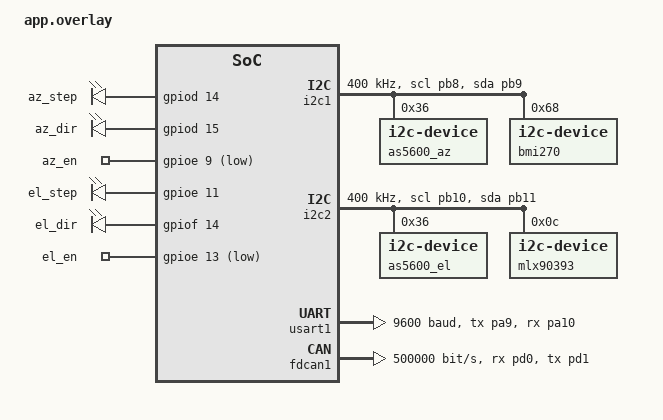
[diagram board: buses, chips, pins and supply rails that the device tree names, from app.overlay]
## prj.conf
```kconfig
# CAN Bus Transport (replaces micro-ROS USB CDC)
# FDCAN in Classic CAN 2.0B mode — ESP32 TWAI and MCP2515 do not support CAN FD
CONFIG_CAN=y
CONFIG_CAN_FD_MODE=n

# Core
CONFIG_MAIN_STACK_SIZE=4096
CONFIG_MAIN_THREAD_PRIORITY=3

# Logging
CONFIG_STDOUT_CONSOLE=y
CONFIG_LOG=y
CONFIG_CONSOLE=y
CONFIG_UART_CONSOLE=y

# Peripherals
CONFIG_SERIAL=y
CONFIG_UART_INTERRUPT_DRIVEN=y
CONFIG_I2C=y
CONFIG_GPIO=y
```

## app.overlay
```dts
/ {
    aliases {
        /* XA1110 GPS UART → USART1 (PA9=TX, PA10=RX, CN7) */
        gps-uart = &usart1;
    };

    chosen {
        /* Single CAN bus: STM32H7 FDCAN1 (PD0=RX, PD1=TX) */
        zephyr,canbus = &fdcan1;
    };

    stepper_motors {
        compatible = "gpio-leds"; /* Using generic GPIO output */
        az_step: az_step {
            gpios = <&gpiod 14 GPIO_ACTIVE_HIGH>; /* D11 */
        };
        az_dir: az_dir {
            gpios = <&gpiod 15 GPIO_ACTIVE_HIGH>; /* D10 */
        };
        az_en: az_en {
            gpios = <&gpioe 9 GPIO_ACTIVE_LOW>;   /* D6 */
        };

        el_step: el_step {
            gpios = <&gpioe 11 GPIO_ACTIVE_HIGH>; /* D5 */
        };
        el_dir: el_dir {
            gpios = <&gpiof 14 GPIO_ACTIVE_HIGH>; /* D4 */
        };
        el_en: el_en {
            gpios = <&gpioe 13 GPIO_ACTIVE_LOW>;  /* D3 */
        };
    };
};

&i2c1 {
    status = "okay";
    pinctrl-0 = <&i2c1_scl_pb8 &i2c1_sda_pb9>;
    pinctrl-names = "default";
    clock-frequency = <I2C_BITRATE_FAST>;

    /* Minimal definitions to lock the I2C bus address if needed, or we just access it raw from code */
    as5600_az: as5600@36 {
        compatible = "i2c-device";
        reg = <0x36>;
    };

    bmi270: bmi270@68 {
        compatible = "i2c-device";
        reg = <0x68>;
    };
};

/* I2C2: AS5600 Elevation + MLX90393 Compass (PB10=SCL, PB11=SDA, CN10)
 * AS5600 주소는 0x36 고정 → I2C1(Azimuth)과 충돌 방지를 위해 별도 버스 사용
 * MLX90393 기본 주소 0x0C (A0=A1=0)
 */
&i2c2 {
    status = "okay";
    pinctrl-0 = <&i2c2_scl_pb10 &i2c2_sda_pb11>;
    pinctrl-names = "default";
    clock-frequency = <I2C_BITRATE_FAST>;

    as5600_el: as5600@36 {
        compatible = "i2c-device";
        reg = <0x36>;
    };

    mlx90393: mlx90393@0c {
        compatible = "i2c-device";
        reg = <0x0c>;
    };
};

/* USART1: XA1110 GPS (PA9=TX, PA10=RX, CN7) 9600 baud */
&usart1 {
    status = "okay";
    pinctrl-0 = <&usart1_tx_pa9 &usart1_rx_pa10>;
    pinctrl-names = "default";
    current-speed = <9600>;
};

/*
 * FDCAN1 in Classic CAN 2.0B mode (500kbps)
 * — no bus-speed-data / no FD frame flags → compatible with ESP32 TWAI & MCP2515
 * — verify PD0/PD1 pin availability on your specific Nucleo board
 */
&fdcan1 {
    status = "okay";
    pinctrl-0 = <&fdcan1_rx_pd0 &fdcan1_tx_pd1>;
    pinctrl-names = "default";
    bus-speed = <500000>;
    sample-point = <875>;
    /* bus-speed-data intentionally omitted: Classic CAN 2.0B only */
};
```

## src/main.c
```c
#include <zephyr/device.h>
#include <zephyr/devicetree.h>
#include <zephyr/drivers/can.h>
#include <zephyr/drivers/gpio.h>
#include <zephyr/drivers/i2c.h>
#include <zephyr/drivers/uart.h>
#include <zephyr/kernel.h>
#include <string.h>

/* ── CAN Protocol IDs ─────────────────────────────────────────────────────── */
/* TX: STM32H7 → RPi4B (via shared CAN bus) */
#define CAN_ID_ACCEL     0x200  /* ax,ay,az (int16 × 1000, m/s²), 6 bytes */
#define CAN_ID_GYRO      0x201  /* gx,gy,gz (int16 × 1000, rad/s), 6 bytes */
#define CAN_ID_MAG       0x202  /* mx,my,mz (int16 × 100, µT), 6 bytes     */
#define CAN_ID_GPS       0x203  /* lat×1e7, lon×1e7 (int32 LE), 8 bytes    */
#define CAN_ID_ENCODER   0x204  /* az×10,el×10 (int16 LE) + flags, 5 bytes */
#define CAN_ID_HEARTBEAT 0x205  /* uptime_ms (uint32 LE) + status, 5 bytes */

/* RX: RPi4B → STM32H7 */
#define CAN_ID_MOTOR_CMD 0x300  /* az_freq×10,el_freq×10 (int16 LE) + flags (uint8), 5 bytes */
                                /* flags: bit0=az_dir, bit1=el_dir, bit2=estop */

/* ── Hardware Peripherals ─────────────────────────────────────────────────── */
static const struct gpio_dt_spec az_step =
    GPIO_DT_SPEC_GET(DT_NODELABEL(az_step), gpios);
static const struct gpio_dt_spec az_dir =
    GPIO_DT_SPEC_GET(DT_NODELABEL(az_dir), gpios);
static const struct gpio_dt_spec az_en =
    GPIO_DT_SPEC_GET(DT_NODELABEL(az_en), gpios);

static const struct gpio_dt_spec el_step =
    GPIO_DT_SPEC_GET(DT_NODELABEL(el_step), gpios);
static const struct gpio_dt_spec el_dir =
    GPIO_DT_SPEC_GET(DT_NODELABEL(el_dir), gpios);
static const struct gpio_dt_spec el_en =
    GPIO_DT_SPEC_GET(DT_NODELABEL(el_en), gpios);

const struct device *i2c_dev1 = DEVICE_DT_GET(DT_NODELABEL(i2c1));
const struct device *i2c_dev2 = DEVICE_DT_GET(DT_NODELABEL(i2c2));

#define GPS_UART_NODE DT_ALIAS(gps_uart)
#if DT_NODE_EXISTS(GPS_UART_NODE)
static const struct device *uart_dev = DEVICE_DT_GET(GPS_UART_NODE);
#else
static const struct device *uart_dev = NULL;
#endif

const struct device *can_dev = DEVICE_DT_GET(DT_NODELABEL(fdcan1));

/* ── Sensor Addresses ─────────────────────────────────────────────────────── */
#define AS5600_ADDR    0x36
#define BMI270_ADDR    0x68
#define MLX90393_ADDR  0x0C

/* BMI270 Registers */
#define BMI270_CHIP_ID_REG 0x00
#define BMI270_ACC_X_LSB   0x0C
#define BMI270_PWR_CONF    0x7C
#define BMI270_PWR_CTRL    0x7D

/* MLX90393 Commands */
#define MLX_CMD_SB   0x3E
#define MLX_CMD_RM   0x4E
#define MLX_CMD_EXIT 0x80

/* ── GPS UART Buffer ──────────────────────────────────────────────────────── */
static char gps_rx_buf[128];
static int  gps_rx_idx = 0;
static bool gps_line_ready = false;
static double gps_lat = 37.5665;
static double gps_lon = 126.9780;

/* ── Motor State ──────────────────────────────────────────────────────────── */
static volatile float current_az_freq = 0.0f;
static volatile float current_el_freq = 0.0f;
static volatile bool  motor_estop = false;

/* ── Stepper Timer (10kHz) ────────────────────────────────────────────────── */
static void stepper_timer_isr(struct k_timer *dummy)
{
    static float az_accum = 0.0f;
    static float el_accum = 0.0f;
    const float dt = 0.0001f; /* 100 µs */

    if (motor_estop) {
        return;
    }

    az_accum += current_az_freq * dt;
    if (az_accum >= 1.0f) {
        gpio_pin_toggle_dt(&az_step);
        az_accum -= 1.0f;
    }

    el_accum += current_el_freq * dt;
    if (el_accum >= 1.0f) {
        gpio_pin_toggle_dt(&el_step);
        el_accum -= 1.0f;
    }
}
K_TIMER_DEFINE(stepper_timer, stepper_timer_isr, NULL);

/* ── CAN Motor CMD Message Queue ─────────────────────────────────────────── */
CAN_MSGQ_DEFINE(motor_msgq, 4);

/* ── Sensor Functions ─────────────────────────────────────────────────────── */
static int init_bmi270(void)
{
    uint8_t chip_id = 0;
    uint8_t reg = BMI270_CHIP_ID_REG;
    if (i2c_write_read(i2c_dev1, BMI270_ADDR, &reg, 1, &chip_id, 1) != 0) {
        return -1;
    }
    if (chip_id != 0x24) {
        return -1;
    }
    uint8_t pwr_up[2] = {BMI270_PWR_CONF, 0x00};
    i2c_write(i2c_dev1, pwr_up, 2, BMI270_ADDR);
    k_msleep(1);
    uint8_t pwr_ctrl[2] = {BMI270_PWR_CTRL, 0x0E}; /* Accel + Gyro + Temp */
    i2c_write(i2c_dev1, pwr_ctrl, 2, BMI270_ADDR);
    k_msleep(2);
    return 0;
}

static int init_mlx90393(void)
{
    uint8_t cmd = MLX_CMD_EXIT;
    return i2c_write(i2c_dev2, &cmd, 1, MLX90393_ADDR);
}

static float read_as5600_angle(const struct device *dev)
{
    if (!device_is_ready(dev)) {
        return -1.0f;
    }
    uint8_t reg = 0x0E; /* RAW ANGLE register */
    uint8_t buf[2] = {0};
    if (i2c_write_read(dev, AS5600_ADDR, &reg, 1, buf, 2) == 0) {
        uint16_t raw = (buf[0] << 8) | buf[1];
        return ((float)raw / 4096.0f) * 360.0f;
    }
    return -1.0f;
}

static void read_bmi270(int16_t *ax, int16_t *ay, int16_t *az,
                         int16_t *gx, int16_t *gy, int16_t *gz)
{
    uint8_t reg = BMI270_ACC_X_LSB;
    uint8_t buf[12];
    if (i2c_write_read(i2c_dev1, BMI270_ADDR, &reg, 1, buf, 12) != 0) {
        return;
    }
    int16_t raw_ax = (int16_t)((buf[1] << 8) | buf[0]);
    int16_t raw_ay = (int16_t)((buf[3] << 8) | buf[2]);
    int16_t raw_az = (int16_t)((buf[5] << 8) | buf[4]);
    /* m/s² × 1000: +/-2g range → scale = 9.80665/16384 × 1000 */
    *ax = (int16_t)((float)raw_ax * (9.80665f / 16384.0f) * 1000.0f);
    *ay = (int16_t)((float)raw_ay * (9.80665f / 16384.0f) * 1000.0f);
    *az = (int16_t)((float)raw_az * (9.80665f / 16384.0f) * 1000.0f);

    int16_t raw_gx = (int16_t)((buf[7] << 8) | buf[6]);
    int16_t raw_gy = (int16_t)((buf[9] << 8) | buf[8]);
    int16_t raw_gz = (int16_t)((buf[11] << 8) | buf[10]);
    /* rad/s × 1000: +/-2000 dps range → scale = (2000/32768) × (π/180) × 1000 */
    *gx = (int16_t)((float)raw_gx * (3.14159265f / (180.0f * 16.384f)) * 1000.0f);
    *gy = (int16_t)((float)raw_gy * (3.14159265f / (180.0f * 16.384f)) * 1000.0f);
    *gz = (int16_t)((float)raw_gz * (3.14159265f / (180.0f * 16.384f)) * 1000.0f);
}

static void read_mlx90393(int16_t *mx, int16_t *my, int16_t *mz)
{
    uint8_t sb_cmd = MLX_CMD_SB;
    i2c_write(i2c_dev2, &sb_cmd, 1, MLX90393_ADDR);
    k_msleep(10); /* Conversion time */

    uint8_t rm_cmd = MLX_CMD_RM;
    uint8_t buf[7];
    if (i2c_write_read(i2c_dev2, MLX90393_ADDR, &rm_cmd, 1, buf, 7) == 0) {
        /* µT × 100 (simplified scale) */
        *mx = (int16_t)(((buf[1] << 8) | buf[2]) / 10);
        *my = (int16_t)(((buf[3] << 8) | buf[4]) / 10);
        *mz = (int16_t)(((buf[5] << 8) | buf[6]) / 10);
    }
}

/* ── GPS UART ISR ─────────────────────────────────────────────────────────── */
static void uart_cb(const struct device *dev, void *user_data)
{
    uint8_t c;
    if (!uart_irq_update(dev)) {
        return;
    }
    while (uart_irq_is_pending(dev) && uart_irq_rx_ready(dev)) {
        if (uart_fifo_read(dev, &c, 1) == 1) {
            if (c == '\n' || c == '\r') {
                if (gps_rx_idx > 0) {
                    gps_rx_buf[gps_rx_idx] = '\0';
                    gps_line_ready = true;
                }
            } else if (gps_rx_idx < (int)sizeof(gps_rx_buf) - 1) {
                gps_rx_buf[gps_rx_idx++] = c;
            }
        }
    }
}

static void parse_nmea(const char *line)
{
    if (strncmp(line, "$GPGGA", 6) == 0 || strncmp(line, "$GNGGA", 6) == 0) {
        /* Minimal stub — full NMEA parser TBD */
        gps_lat = 37.5665;
        gps_lon = 126.9780;
    }
}

/* ── CAN TX Helpers ───────────────────────────────────────────────────────── */
static void can_send_frame(uint32_t id, const uint8_t *data, uint8_t dlc)
{
    struct can_frame frame = {0};
    frame.id  = id;
    frame.dlc = dlc;
    memcpy(frame.data, data, dlc);
    can_send(can_dev, &frame, K_MSEC(5), NULL, NULL);
}

static void publish_imu(void)
{
    int16_t ax = 0, ay = 0, az = 0, gx = 0, gy = 0, gz = 0;
    read_bmi270(&ax, &ay, &az, &gx, &gy, &gz);

    uint8_t accel_buf[6];
    accel_buf[0] = (uint8_t)(ax >> 8); accel_buf[1] = (uint8_t)(ax & 0xFF);
    accel_buf[2] = (uint8_t)(ay >> 8); accel_buf[3] = (uint8_t)(ay & 0xFF);
    accel_buf[4] = (uint8_t)(az >> 8); accel_buf[5] = (uint8_t)(az & 0xFF);
    can_send_frame(CAN_ID_ACCEL, accel_buf, 6);

    uint8_t gyro_buf[6];
    gyro_buf[0] = (uint8_t)(gx >> 8); gyro_buf[1] = (uint8_t)(gx & 0xFF);
    gyro_buf[2] = (uint8_t)(gy >> 8); gyro_buf[3] = (uint8_t)(gy & 0xFF);
    gyro_buf[4] = (uint8_t)(gz >> 8); gyro_buf[5] = (uint8_t)(gz & 0xFF);
    can_send_frame(CAN_ID_GYRO, gyro_buf, 6);
}

static void publish_mag(void)
{
    int16_t mx = 0, my = 0, mz = 0;
    read_mlx90393(&mx, &my, &mz);

    uint8_t buf[6];
    buf[0] = (uint8_t)(mx >> 8); buf[1] = (uint8_t)(mx & 0xFF);
    buf[2] = (uint8_t)(my >> 8); buf[3] = (uint8_t)(my & 0xFF);
    buf[4] = (uint8_t)(mz >> 8); buf[5] = (uint8_t)(mz & 0xFF);
    can_send_frame(CAN_ID_MAG, buf, 6);
}

static void publish_encoder(void)
{
    float az_angle = read_as5600_angle(i2c_dev1);
    float el_angle = read_as5600_angle(i2c_dev2);

    int16_t az_raw = (az_angle >= 0.0f) ? (int16_t)(az_angle * 10.0f) : -1;
    int16_t el_raw = (el_angle >= 0.0f) ? (int16_t)(el_angle * 10.0f) : -1;
    uint8_t flags  = 0;
    if (az_angle >= 0.0f) { flags |= 0x01; }
    if (el_angle >= 0.0f) { flags |= 0x02; }

    uint8_t buf[5];
    buf[0] = (uint8_t)(az_raw >> 8); buf[1] = (uint8_t)(az_raw & 0xFF);
    buf[2] = (uint8_t)(el_raw >> 8); buf[3] = (uint8_t)(el_raw & 0xFF);
    buf[4] = flags;
    can_send_frame(CAN_ID_ENCODER, buf, 5);
}

static void publish_gps(void)
{
    int32_t lat_raw = (int32_t)(gps_lat * 1e7);
    int32_t lon_raw = (int32_t)(gps_lon * 1e7);
    uint8_t buf[8];
    memcpy(buf,     &lat_raw, 4);
    memcpy(buf + 4, &lon_raw, 4);
    can_send_frame(CAN_ID_GPS, buf, 8);
}

static void publish_heartbeat(void)
{
    uint32_t uptime = (uint32_t)k_uptime_get();
    uint8_t buf[5];
    memcpy(buf, &uptime, 4);
    buf[4] = 1; /* status: OK */
    can_send_frame(CAN_ID_HEARTBEAT, buf, 5);
}

/* ── Motor CMD Thread (CAN RX 0x300) ─────────────────────────────────────── */
static void motor_cmd_thread(void *p1, void *p2, void *p3)
{
    struct can_frame frame;

    while (1) {
        if (k_msgq_get(&motor_msgq, &frame, K_FOREVER) != 0) {
            continue;
        }
        if (frame.dlc < 5) {
            continue;
        }

        int16_t az_freq_raw, el_freq_raw;
        memcpy(&az_freq_raw, &frame.data[0], 2);
        memcpy(&el_freq_raw, &frame.data[2], 2);
        uint8_t flags = frame.data[4];

        if (flags & 0x04) { /* bit2 = estop */
            motor_estop = true;
            gpio_pin_set_dt(&az_en, 0);
            gpio_pin_set_dt(&el_en, 0);
            current_az_freq = 0.0f;
            current_el_freq = 0.0f;
            continue;
        }

        motor_estop = false;
        gpio_pin_set_dt(&az_en, 1);
        gpio_pin_set_dt(&el_en, 1);
        gpio_pin_set_dt(&az_dir, (flags & 0x01) ? 1 : 0); /* bit0 = az_dir */
        gpio_pin_set_dt(&el_dir, (flags & 0x02) ? 1 : 0); /* bit1 = el_dir */
        current_az_freq = (float)az_freq_raw / 10.0f;
        current_el_freq = (float)el_freq_raw / 10.0f;
    }
}
K_THREAD_DEFINE(motor_tid, 1024, motor_cmd_thread, NULL, NULL, NULL, 5, 0, 0);

/* ── Hardware Init ────────────────────────────────────────────────────────── */
static void init_hardware(void)
{
    /* GPIO: stepper motors (disabled by default) */
    gpio_pin_configure_dt(&az_step, GPIO_OUTPUT_INACTIVE);
    gpio_pin_configure_dt(&az_dir,  GPIO_OUTPUT_INACTIVE);
    gpio_pin_configure_dt(&az_en,   GPIO_OUTPUT_INACTIVE);
    gpio_pin_set_dt(&az_en, 0);

    gpio_pin_configure_dt(&el_step, GPIO_OUTPUT_INACTIVE);
    gpio_pin_configure_dt(&el_dir,  GPIO_OUTPUT_INACTIVE);
    gpio_pin_configure_dt(&el_en,   GPIO_OUTPUT_INACTIVE);
    gpio_pin_set_dt(&el_en, 0);

    /* I2C sensors */
    if (!device_is_ready(i2c_dev1)) { printk("I2C1 fail\n"); }
    if (!device_is_ready(i2c_dev2)) { printk("I2C2 fail\n"); }

    if (init_bmi270() == 0 && init_mlx90393() == 0) {
        printk("BMI270 + MLX90393 OK\n");
    } else {
        printk("Sensor init failed!\n");
    }

    /* GPS UART */
    if (uart_dev != NULL && device_is_ready(uart_dev)) {
        uart_irq_callback_user_data_set(uart_dev, uart_cb, NULL);
        uart_irq_rx_enable(uart_dev);
        printk("GPS UART OK\n");
    } else {
        printk("GPS UART not available\n");
    }

    /* CAN */
    if (!device_is_ready(can_dev)) {
        printk("CAN device not ready!\n");
    } else {
        can_start(can_dev);

        static const struct can_filter motor_filter = {
            .id    = CAN_ID_MOTOR_CMD,
            .mask  = CAN_STD_ID_MASK,
            .flags = 0,
        };
        can_add_rx_filter_msgq(can_dev, &motor_msgq, &motor_filter);
        printk("CAN OK (500kbps, FDCAN1)\n");
    }

    /* Stepper pulse timer: 10kHz */
    k_timer_start(&stepper_timer, K_USEC(100), K_USEC(100));
}

/* ── Main ─────────────────────────────────────────────────────────────────── */
int main(void)
{
    printk("Antenna Tracker Firmware — CAN bus mode (STM32H7 FDCAN1)\n");
    init_hardware();

    uint64_t last_hb_ms  = 0;
    uint64_t last_gps_ms = 0;

    while (1) {
        /* 100Hz: IMU, mag, encoder */
        publish_imu();
        publish_mag();
        publish_encoder();

        uint64_t now_ms = k_uptime_get();

        /* GPS at 1Hz */
        if (now_ms - last_gps_ms >= 1000) {
            if (gps_line_ready) {
                parse_nmea(gps_rx_buf);
                gps_rx_idx    = 0;
                gps_line_ready = false;
            }
            publish_gps();
            last_gps_ms = now_ms;
        }

        /* Heartbeat at 1Hz */
        if (now_ms - last_hb_ms >= 1000) {
            publish_heartbeat();
            last_hb_ms = now_ms;
        }

        k_msleep(10); /* 100Hz loop */
    }

    return 0;
}
```
